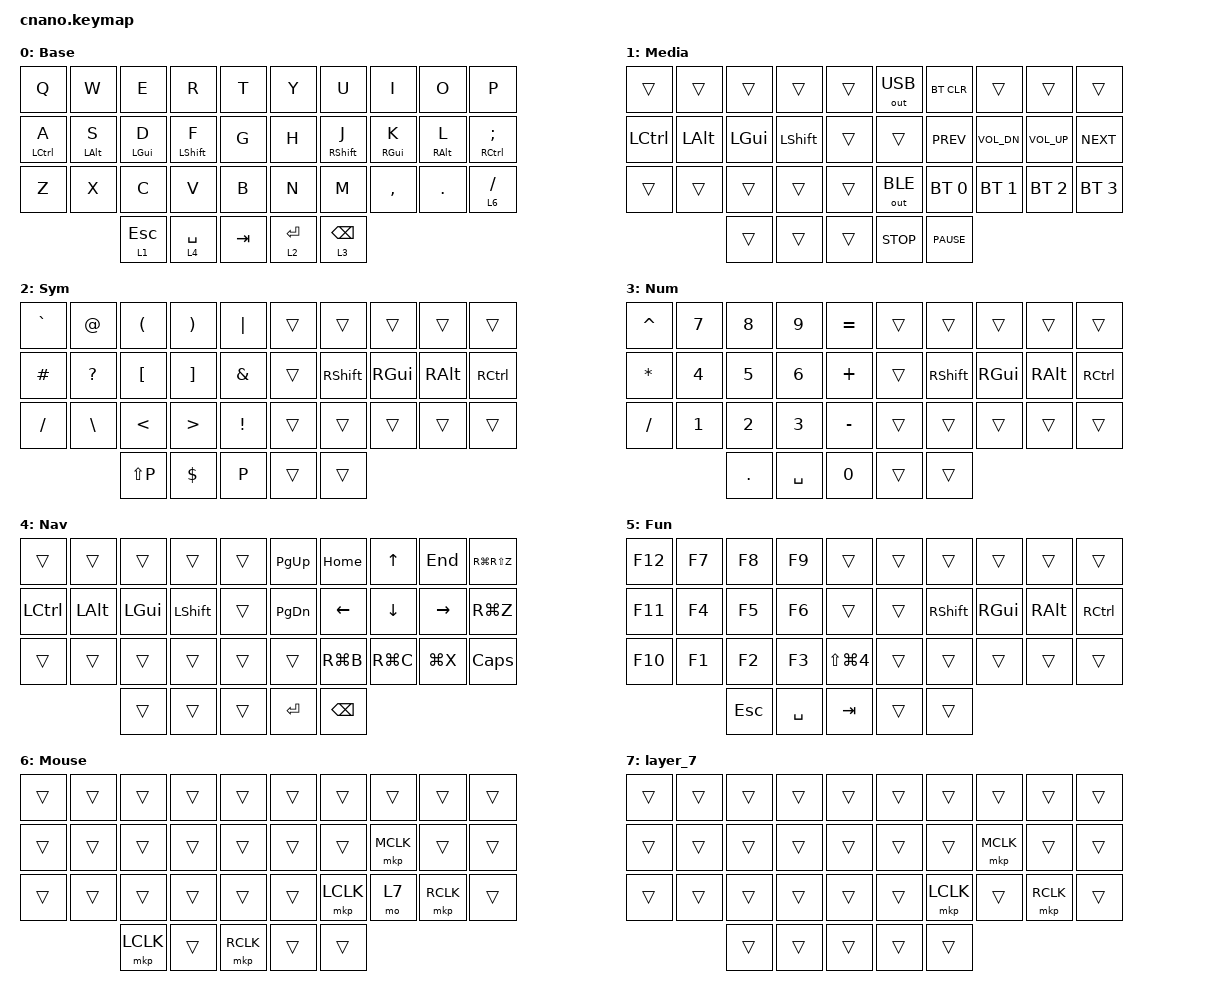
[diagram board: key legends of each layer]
#include <dt-bindings/zmk/mouse.h>
#include <behaviors.dtsi>
#include <dt-bindings/zmk/bt.h>
#include <dt-bindings/zmk/keys.h>
#include <dt-bindings/zmk/outputs.h>
#include <dt-bindings/zmk/pointing.h>

&mt { tapping-term-ms = <400>; };

/ {
    chosen { zmk,battery = &vbatt; };

    vbatt: vbatt {
        compatible = "zmk,battery-nrf-vddh";
        label = "VBATT";
    };

    behaviors {
        lhht: left-hand-hold-tap {
            compatible = "zmk,behavior-hold-tap";
            label = "LEFT_HOLD_TAP";
            bindings = <&kp>, <&kp>;

            #binding-cells = <2>;
            tapping-term-ms = <200>;
            flavor = "tap-preferred";
            quick-tap-ms = <125>;
            global-quick-tap;
            hold-trigger-key-positions = <6 7 8 9 19 18 33 34 35 39 40 41 5 15 25 26 16 17 27 28 29>;
        };

        rhht: rhht {
            compatible = "zmk,behavior-hold-tap";
            label = "RHHT";
            bindings = <&kp>, <&kp>;

            #binding-cells = <2>;
            tapping-term-ms = <200>;
            quick-tap-ms = <125>;
            flavor = "tap-preferred";
            global-quick-tap;
            hold-trigger-key-positions = <4 3 2 1 13 14 0 12 24 38 37 36 10 11 20 21 22 23 30 31 32>;
        };
    };

    combos {
        compatible = "zmk,combos";

        lang_switch {
            bindings = <&kp LC(SPACE)>;
            key-positions = <10 20>;
        };

        kp_bslh {
            bindings = <&kp BACKSLASH>;
            key-positions = <0 10>;
        };

        kp_lbkt {
            bindings = <&kp LBKT>;
            key-positions = <9 19>;
        };

        kp_apos {
            bindings = <&kp APOS>;
            key-positions = <29 19>;
        };

        kp_rbkt {
            bindings = <&kp RBKT>;
            key-positions = <8 18>;
        };
    };

    keymap {
        compatible = "zmk,keymap";

        Base {
            // -----------------------------------------------------------------------------------------
            // |  TAB |  Q  |  W  |  E  |  R  |  T  |   |  Y  |  U   |  I  |  O  |  P  | BKSP |
            // | CTRL |  A  |  S  |  D  |  F  |  G  |   |  H  |  J   |  K  |  L  |  ;  |  '   |
            // | SHFT |  Z  |  X  |  C  |  V  |  B  |   |  N  |  M   |  ,  |  .  |  /  | ESC  |
            //                    | GUI | LWR | SPC |   | ENT | RSE  | ALT |

            bindings = <
&kp Q          &kp W             &kp E         &kp R               &kp T      &kp Y        &kp U                &kp I              &kp O              &kp P
&lhht LCTRL A  &lhht LEFT_ALT S  &lhht LGUI D  &lhht LEFT_SHIFT F  &kp G      &kp H        &rhht RIGHT_SHIFT J  &rhht RIGHT_GUI K  &rhht RIGHT_ALT L  &rhht RCTRL SEMICOLON
&kp Z          &kp X             &kp C         &kp V               &kp B      &kp N        &kp M                &kp COMMA          &kp DOT            &lt 6 SLASH
                                 &lt 1 ESCAPE  &lt 4 SPACE         &kp TAB    &lt 2 ENTER  &lt 3 BACKSPACE
            >;

            trackball-bindings = <&tmv_coarse>;
        };

        Media {
            // -----------------------------------------------------------------------------------------
            // |  TAB |  1  |  2  |  3  |  4  |  5  |   |  6  |  7  |  8  |  9  |  0  | BKSP |
            // | BTCLR| BT1 | BT2 | BT3 | BT4 | BT5 |   | LFT | DWN |  UP | RGT |     |      |
            // | SHFT |     |     |     |     |     |   |     |     |     |     |     |      |
            //                    | GUI |     | SPC |   | ENT |     | ALT |

            bindings = <
&trans            &trans        &trans        &trans          &trans    &out OUT_USB  &bt BT_CLR    &trans        &trans           &trans
&kp LEFT_CONTROL  &kp LEFT_ALT  &kp LEFT_GUI  &kp LEFT_SHIFT  &trans    &trans        &kp C_PREV    &kp C_VOL_DN  &kp C_VOLUME_UP  &kp C_NEXT
&trans            &trans        &trans        &trans          &trans    &out OUT_BLE  &bt BT_SEL 0  &bt BT_SEL 1  &bt BT_SEL 2     &bt BT_SEL 3
                                &trans        &trans          &trans    &kp C_STOP    &kp C_PAUSE
            >;
        };

        Sym {
            // -----------------------------------------------------------------------------------------
            // |  TAB |  !  |  @  |  #  |  $  |  %  |   |  ^  |  &  |  *  |  (  |  )  | BKSP |
            // | CTRL |     |     |     |     |     |   |  -  |  =  |  [  |  ]  |  \  |  `   |
            // | SHFT |     |     |     |     |     |   |  _  |  +  |  {  |  }  | "|" |  ~   |
            //                    | GUI |     | SPC |   | ENT |     | ALT |

            bindings = <
&kp GRAVE  &kp AT_SIGN    &kp LEFT_PARENTHESIS  &kp RIGHT_PARENTHESIS  &kp PIPE           &trans  &trans           &trans         &trans         &trans
&kp HASH   &kp QUESTION   &kp LEFT_BRACKET      &kp RIGHT_BRACKET      &kp AMPERSAND      &trans  &kp RIGHT_SHIFT  &kp RIGHT_GUI  &kp RIGHT_ALT  &kp RIGHT_CONTROL
&kp SLASH  &kp BACKSLASH  &kp LESS_THAN         &kp GREATER_THAN       &kp EXCLAMATION    &trans  &trans           &trans         &trans         &trans
                          &kp LS(P)             &kp DOLLAR             &kp P              &trans  &trans
            >;
        };

        Num {
            bindings = <
&kp CARET     &kp NUMBER_7  &kp NUMBER_8  &kp NUMBER_9  &kp EQUAL    &trans  &trans           &trans         &trans         &trans
&kp ASTERISK  &kp NUMBER_4  &kp NUMBER_5  &kp NUMBER_6  &kp PLUS     &trans  &kp RIGHT_SHIFT  &kp RIGHT_GUI  &kp RIGHT_ALT  &kp RIGHT_CONTROL
&kp SLASH     &kp NUMBER_1  &kp NUMBER_2  &kp NUMBER_3  &kp MINUS    &trans  &trans           &trans         &trans         &trans
                            &kp DOT       &kp SPACE     &kp N0       &trans  &trans
            >;
        };

        Nav {
            bindings = <
&trans     &trans        &trans        &trans          &trans    &kp PAGE_UP    &kp HOME       &kp UP     &kp END    &kp RG(RS(Z))
&kp LCTRL  &kp LEFT_ALT  &kp LEFT_GUI  &kp LEFT_SHIFT  &trans    &kp PAGE_DOWN  &kp LEFT       &kp DOWN   &kp RIGHT  &kp RG(Z)
&trans     &trans        &trans        &trans          &trans    &trans         &kp RG(B)      &kp RG(C)  &kp LG(X)  &kp CAPS
                         &trans        &trans          &trans    &kp ENTER      &kp BACKSPACE
            >;
        };

        Fun {
            bindings = <
&kp F12  &kp F7  &kp F8      &kp F9     &trans                  &trans  &trans           &trans         &trans         &trans
&kp F11  &kp F4  &kp F5      &kp F6     &trans                  &trans  &kp RIGHT_SHIFT  &kp RIGHT_GUI  &kp RIGHT_ALT  &kp RIGHT_CONTROL
&kp F10  &kp F1  &kp F2      &kp F3     &kp LS(LG(NUMBER_4))    &trans  &trans           &trans         &trans         &trans
                 &kp ESCAPE  &kp SPACE  &kp TAB                 &trans  &trans
            >;
        };

        Mouse {
            bindings = <
&trans  &trans  &trans     &trans  &trans       &trans  &trans     &trans     &trans     &trans
&trans  &trans  &trans     &trans  &trans       &trans  &trans     &mkp MCLK  &trans     &trans
&trans  &trans  &trans     &trans  &trans       &trans  &mkp LCLK  &mo 7      &mkp RCLK  &trans
                &mkp LCLK  &trans  &mkp RCLK    &trans  &trans
            >;
        };

        layer_7 {
            bindings = <
&trans  &trans  &trans  &trans  &trans    &trans  &trans     &trans     &trans     &trans
&trans  &trans  &trans  &trans  &trans    &trans  &trans     &mkp MCLK  &trans     &trans
&trans  &trans  &trans  &trans  &trans    &trans  &mkp LCLK  &trans     &mkp RCLK  &trans
                &trans  &trans  &trans    &trans  &trans
            >;

            trackball-bindings = <&tsl>;//滚轮层
        };
    };
};
